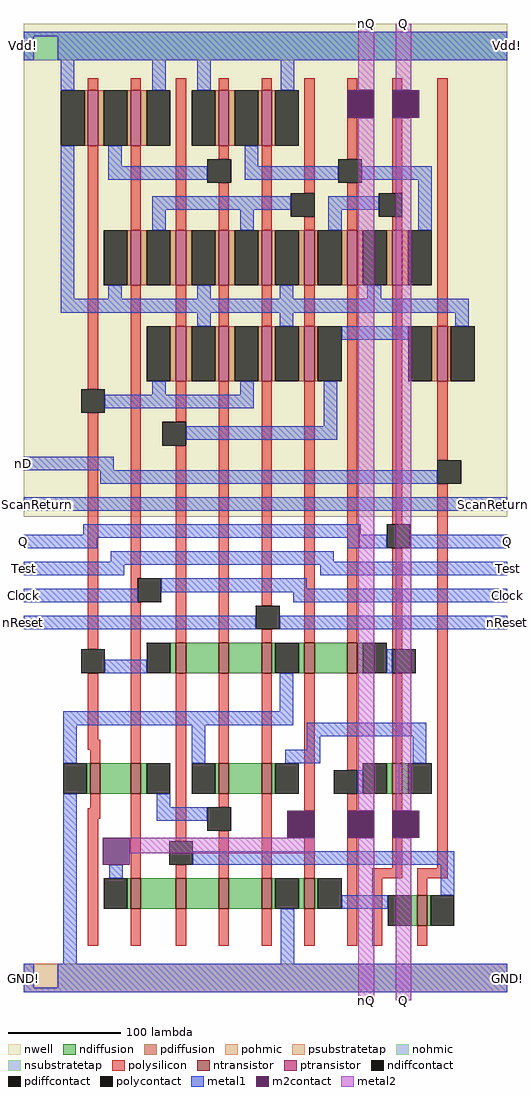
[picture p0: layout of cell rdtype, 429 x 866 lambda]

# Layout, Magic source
magic
tech tsmc180
<< nwell >>
rect 0 429 429 866
<< polysilicon >>
rect 57 807 66 818
rect 95 807 104 818
rect 57 542 66 758
rect 95 683 104 758
rect 135 683 144 818
rect 173 807 182 818
rect 211 807 220 818
rect 173 746 182 758
rect 173 683 182 725
rect 211 683 220 758
rect 249 716 258 818
rect 287 807 296 818
rect 327 807 336 818
rect 287 746 296 783
rect 249 683 258 695
rect 287 683 296 725
rect 327 716 336 783
rect 327 683 336 695
rect 57 311 66 521
rect 95 374 104 634
rect 135 598 144 634
rect 173 598 182 634
rect 211 598 220 634
rect 249 598 258 634
rect 135 513 144 549
rect 95 353 101 374
rect 57 231 66 290
rect 57 222 68 231
rect 59 210 68 222
rect 95 210 104 353
rect 135 317 144 492
rect 173 317 182 549
rect 211 350 220 549
rect 211 317 220 329
rect 249 317 258 549
rect 287 422 296 634
rect 327 422 336 634
rect 367 598 376 818
rect 367 479 376 549
rect 287 401 298 422
rect 287 317 296 401
rect 327 311 336 401
rect 59 170 68 183
rect 57 161 68 170
rect 57 48 66 161
rect 95 108 104 183
rect 135 141 144 290
rect 173 210 182 290
rect 211 210 220 290
rect 173 171 182 183
rect 135 108 144 120
rect 173 108 182 150
rect 211 108 220 183
rect 249 168 258 290
rect 287 204 296 290
rect 327 210 336 290
rect 249 108 258 144
rect 287 168 296 183
rect 327 168 336 183
rect 95 48 104 81
rect 135 48 144 81
rect 173 48 182 81
rect 211 48 220 81
rect 249 48 258 81
rect 287 48 296 144
rect 327 117 336 144
rect 367 117 376 458
rect 309 108 336 117
rect 349 108 376 117
rect 309 48 318 108
rect 349 93 358 108
rect 349 48 358 66
<< ndiffusion >>
rect 130 290 135 317
rect 144 290 173 317
rect 182 290 211 317
rect 220 290 223 317
rect 244 290 249 317
rect 258 290 287 317
rect 296 290 301 317
rect 56 183 59 210
rect 68 183 95 210
rect 104 183 109 210
rect 170 183 173 210
rect 182 183 211 210
rect 220 183 223 210
rect 322 183 327 210
rect 336 183 341 210
rect 92 81 95 108
rect 104 81 135 108
rect 144 81 173 108
rect 182 81 211 108
rect 220 81 223 108
rect 244 81 249 108
rect 258 81 261 108
rect 344 66 349 93
rect 358 66 361 93
<< pdiffusion >>
rect 54 758 57 807
rect 66 758 71 807
rect 92 758 95 807
rect 104 758 109 807
rect 170 758 173 807
rect 182 758 187 807
rect 208 758 211 807
rect 220 758 223 807
rect 92 634 95 683
rect 104 634 109 683
rect 130 634 135 683
rect 144 634 149 683
rect 170 634 173 683
rect 182 634 187 683
rect 208 634 211 683
rect 220 634 223 683
rect 244 634 249 683
rect 258 634 261 683
rect 282 634 287 683
rect 296 634 301 683
rect 322 634 327 683
rect 336 634 341 683
rect 130 549 135 598
rect 144 549 149 598
rect 170 549 173 598
rect 182 549 187 598
rect 208 549 211 598
rect 220 549 223 598
rect 244 549 249 598
rect 258 549 261 598
rect 362 549 367 598
rect 376 549 379 598
<< pohmic >>
rect 0 11 9 32
rect 30 11 429 32
rect 0 7 429 11
<< nohmic >>
rect 0 855 429 859
rect 0 834 9 855
rect 30 834 429 855
<< ntransistor >>
rect 135 290 144 317
rect 173 290 182 317
rect 211 290 220 317
rect 249 290 258 317
rect 287 290 296 317
rect 59 183 68 210
rect 95 183 104 210
rect 173 183 182 210
rect 211 183 220 210
rect 327 183 336 210
rect 95 81 104 108
rect 135 81 144 108
rect 173 81 182 108
rect 211 81 220 108
rect 249 81 258 108
rect 349 66 358 93
<< ptransistor >>
rect 57 758 66 807
rect 95 758 104 807
rect 173 758 182 807
rect 211 758 220 807
rect 95 634 104 683
rect 135 634 144 683
rect 173 634 182 683
rect 211 634 220 683
rect 249 634 258 683
rect 287 634 296 683
rect 327 634 336 683
rect 135 549 144 598
rect 173 549 182 598
rect 211 549 220 598
rect 249 549 258 598
rect 367 549 376 598
<< polycontact >>
rect 163 725 184 746
rect 287 783 311 807
rect 327 783 351 807
rect 279 725 300 746
rect 237 695 258 716
rect 315 695 336 716
rect 51 521 72 542
rect 123 492 144 513
rect 101 353 122 374
rect 51 290 72 311
rect 206 329 227 350
rect 367 458 388 479
rect 322 401 343 422
rect 327 290 348 311
rect 163 150 184 171
rect 129 120 150 141
rect 275 183 296 204
rect 234 144 258 168
rect 287 144 311 168
rect 327 144 351 168
<< ndiffcontact >>
rect 109 290 130 317
rect 223 290 244 317
rect 301 290 322 317
rect 35 183 56 210
rect 109 183 130 210
rect 149 183 170 210
rect 223 183 244 210
rect 301 183 322 210
rect 341 183 362 210
rect 71 81 92 108
rect 223 81 244 108
rect 261 81 282 108
rect 323 66 344 93
rect 361 66 382 93
<< pdiffcontact >>
rect 33 758 54 807
rect 71 758 92 807
rect 109 758 130 807
rect 149 758 170 807
rect 187 758 208 807
rect 223 758 244 807
rect 71 634 92 683
rect 109 634 130 683
rect 149 634 170 683
rect 187 634 208 683
rect 223 634 244 683
rect 261 634 282 683
rect 301 634 322 683
rect 341 634 362 683
rect 109 549 130 598
rect 149 549 170 598
rect 187 549 208 598
rect 223 549 244 598
rect 261 549 282 598
rect 341 549 362 598
rect 379 549 400 598
<< psubstratetap >>
rect 9 11 30 32
<< nsubstratetap >>
rect 9 834 30 855
<< metal1 >>
rect 0 855 429 859
rect 0 834 9 855
rect 30 834 429 855
rect 33 807 45 834
rect 114 807 126 834
rect 154 807 166 834
rect 228 807 240 834
rect 33 622 45 758
rect 75 740 87 758
rect 75 728 163 740
rect 196 740 208 758
rect 196 728 279 740
rect 300 728 362 740
rect 114 701 237 713
rect 114 683 126 701
rect 192 683 204 701
rect 270 701 315 713
rect 270 683 282 701
rect 350 683 362 728
rect 75 622 87 634
rect 154 622 166 634
rect 227 622 239 634
rect 305 622 317 634
rect 33 610 395 622
rect 154 598 166 610
rect 227 598 239 610
rect 383 598 395 610
rect 282 586 341 598
rect 114 537 126 549
rect 192 537 204 549
rect 72 525 204 537
rect 266 509 278 549
rect 144 497 278 509
rect 0 470 80 482
rect 68 458 367 470
rect 0 434 429 446
rect 53 413 299 422
rect 0 410 322 413
rect 0 401 65 410
rect 287 401 322 410
rect 343 401 429 413
rect 77 389 275 398
rect 0 386 429 389
rect 0 377 89 386
rect 263 377 429 386
rect 0 353 101 365
rect 122 365 251 374
rect 122 362 429 365
rect 239 353 429 362
rect 0 329 206 341
rect 227 329 429 341
rect 72 290 109 302
rect 322 290 327 311
rect 227 256 239 290
rect 35 244 239 256
rect 35 210 47 244
rect 149 210 161 244
rect 251 234 357 246
rect 251 222 263 234
rect 232 210 263 222
rect 345 210 357 234
rect 296 183 301 204
rect 35 32 47 183
rect 118 171 130 183
rect 118 159 163 171
rect 150 120 382 132
rect 76 108 88 120
rect 370 93 382 120
rect 282 81 323 93
rect 228 32 240 81
rect 0 11 9 32
rect 30 11 429 32
rect 0 7 429 11
<< m2contact >>
rect 287 783 311 807
rect 327 783 351 807
rect 234 144 258 168
rect 287 144 311 168
rect 327 144 351 168
rect 70 120 94 144
<< metal2 >>
rect 297 807 311 866
rect 330 807 344 866
rect 297 168 311 783
rect 330 168 344 783
rect 94 130 258 144
rect 297 0 311 144
rect 330 0 344 144
<< labels >>
rlabel metal1 0 834 0 859 3 Vdd!
rlabel metal1 0 329 0 341 3 nReset
rlabel metal1 0 353 0 365 3 Clock
rlabel metal1 0 377 0 389 3 Test
rlabel metal1 0 401 0 413 3 Q
rlabel metal1 0 434 0 446 3 ScanReturn
rlabel metal1 0 470 0 482 3 nD
rlabel metal1 0 7 0 32 3 GND!
rlabel metal1 429 434 429 446 7 ScanReturn
rlabel metal1 429 353 429 365 7 Clock
rlabel metal1 429 377 429 389 7 Test
rlabel metal1 429 401 429 413 7 Q
rlabel metal1 429 329 429 341 7 nReset
rlabel metal1 429 834 429 859 7 Vdd!
rlabel metal1 429 7 429 32 7 GND!
rlabel metal2 297 0 311 0 1 nQ
rlabel metal2 330 0 344 0 1 Q
rlabel metal2 297 866 311 866 5 nQ
rlabel metal2 330 866 344 866 5 Q
<< end >>
